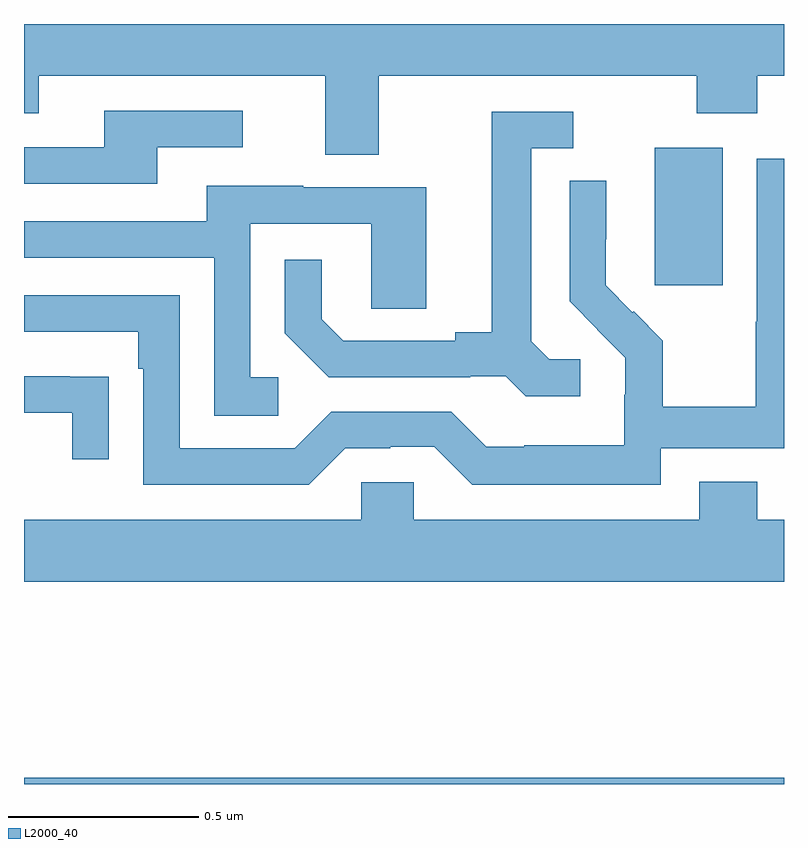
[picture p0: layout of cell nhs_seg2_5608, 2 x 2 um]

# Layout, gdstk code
import gdstk
lib = gdstk.Library(unit=1e-6, precision=1e-09)
def R(c, l, rs):  # rectangles x0, y0, x1, y1
    for r in rs: c.add(gdstk.rectangle(r[:2], r[2:], *l))
def P(c, l, *ps):  # polygons
    for p in ps: c.add(gdstk.Polygon(p, *l))
L2000_40 = (2000, 40)

nhs_seg2_5608 = lib.new_cell('nhs_seg2_5608')
R(nhs_seg2_5608, L2000_40, [(181,617.8,183,617.816), (182.66,619.113,182.839,619.474)])
P(nhs_seg2_5608, L2000_40, [(183,619.8),(181,619.8),(181,619.565),(181.039,619.565),(181.039,619.664),(181.793,619.664),(181.793,619.456),(181.933,619.456),(181.933,619.664),(182.77,619.664),(182.77,619.565),(182.93,619.565),(182.93,619.664),(183,619.664)],
  [(181.351,619.476),(181.576,619.476),(181.576,619.572),(181.211,619.572),(181.211,619.476),(181,619.476),(181,619.38),(181.351,619.38)],
  [(182.464,618.918),(182.382,618.918),(182.335,618.965),(182.335,619.473),(182.446,619.473),(182.446,619.569),(182.231,619.569),(182.231,618.989),(182.135,618.989),(182.135,618.966),(181.84,618.966),(181.783,619.023),(181.783,619.18),(181.686,619.18),(181.686,618.986),(181.802,618.87),(182.174,618.87),(182.174,618.873),(182.268,618.873),(182.32,618.821),(182.464,618.821)],
  [(182.676,618.684),(183,618.684),(183,619.446),(182.928,619.446),(182.928,619.016),(182.926,619.016),(182.926,618.793),(182.681,618.793),(182.681,618.967),(182.604,619.044),(182.601,619.041),(182.531,619.112),(182.531,619.234),(182.532,619.234),(182.532,619.388),(182.436,619.388),(182.436,619.07),(182.509,618.997),(182.508,618.996),(182.582,618.922),(182.582,618.825),(182.58,618.825),(182.58,618.691),(182.317,618.691),(182.317,618.687),(182.217,618.687),(182.124,618.78),(181.809,618.78),(181.713,618.684),(181.41,618.684),(181.41,619.086),(181,619.086),(181,618.99),(181.301,618.99),(181.301,618.893),(181.314,618.893),(181.314,618.588),(181.749,618.588),(181.845,618.684),(181.964,618.684),(181.964,618.687),(182.079,618.687),(182.179,618.587),(182.676,618.587)],
  [(181.669,618.87),(181.596,618.87),(181.596,619.275),(181.914,619.275),(181.914,619.051),(182.059,619.051),(182.059,619.371),(181.735,619.371),(181.735,619.375),(181.481,619.375),(181.481,619.281),(181,619.281),(181,619.185),(181.5,619.185),(181.5,618.769),(181.669,618.769)],
  [(181.223,618.872),(181.121,618.872),(181.121,618.873),(181,618.873),(181,618.777),(181.127,618.777),(181.127,618.654),(181.223,618.654)],
  [(183,618.496),(182.93,618.496),(182.93,618.595),(182.777,618.595),(182.777,618.496),(182.025,618.496),(182.025,618.594),(181.887,618.594),(181.887,618.496),(181,618.496),(181,618.332),(183,618.332)])

lib.write_gds('nhs_seg2_5608.gds')
